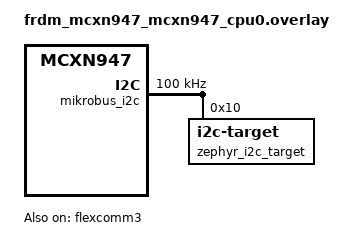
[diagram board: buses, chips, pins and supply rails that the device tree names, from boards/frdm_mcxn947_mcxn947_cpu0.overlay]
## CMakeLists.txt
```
# SPDX-License-Identifier: Apache-2.0

cmake_minimum_required(VERSION 3.20.0)

find_package(Zephyr REQUIRED HINTS $ENV{ZEPHYR_BASE})
project(echo_target)

target_sources(app PRIVATE src/main.c)
```

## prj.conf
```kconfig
CONFIG_I2C=y
CONFIG_I2C_TARGET=y

CONFIG_LOG=y
CONFIG_LOG_DEFAULT_LEVEL=3
```

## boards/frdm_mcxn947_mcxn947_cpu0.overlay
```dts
&flexcomm3 {
    status = "okay";
};

&mikrobus_i2c {
    status = "okay";
    clock-frequency = <I2C_BITRATE_STANDARD>;
};

&mikrobus_i2c {
    zephyr_i2c_target: i2c-target@10 {
        compatible = "zephyr,i2c-target";
        reg = <0x10>;
        status = "okay";
    };
};
```

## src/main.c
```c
#include <zephyr/kernel.h>
#include <zephyr/device.h>
#include <zephyr/drivers/i2c.h>
#include <zephyr/logging/log.h>
#include <string.h>

LOG_MODULE_REGISTER(i2c_target_test, LOG_LEVEL_INF);

#define I2C_TARGET_ADDR 0x10
#define BMC_TARGET_ADDR 0x11
#define REG_COUNT 16

static const struct device *i2c;

/* Simple register file for target-mode test */
static uint8_t registers[REG_COUNT];
static uint8_t current_reg;
static bool first_byte;

/* Work item to send bytes to BMC after STOP */
static struct k_work send_work;
static atomic_t send_pending;

/* Forward decl */
static void send_to_bmc_workfn(struct k_work *work);

static int write_requested(struct i2c_target_config *config)
{
	first_byte = true; /* reset per transaction */
	LOG_INF("Write requested");
	return 0;
}

static int write_received(struct i2c_target_config *config, uint8_t val)
{
	if (first_byte) {
		current_reg = val;
		first_byte = false;
		LOG_INF("Set register pointer to 0x%02x", current_reg);
	} else {
		if (current_reg < REG_COUNT) {
			registers[current_reg++] = val;
		}
	}
	return 0;
}
#if 1
static int read_requested(struct i2c_target_config *config, uint8_t *val)
{
	LOG_INF("Read requested (reg=0x%02x)", current_reg);

	if (current_reg < REG_COUNT) {
		*val = registers[current_reg];
	} else {
		*val = 0xFF;
	}
	return 0;
}

static int read_processed(struct i2c_target_config *config, uint8_t *val)
{
	LOG_INF("Read processed (reg=0x%02x)", current_reg);

	if (current_reg < REG_COUNT) {
		*val = registers[current_reg++];
	} else {
		*val = 0xFF;
	}
	return 0;
}
#endif
static int stop(struct i2c_target_config *config)
{
	first_byte = false;
	LOG_INF("STOP condition");

	/*
	 * Trigger a controller-mode send after STOP (safe point to switch roles).
	 * We only schedule once until it runs.
	 */
#if 0
	if (atomic_cas(&send_pending, 0, 1)) {
		k_work_submit(&send_work);
	}
#endif
	return 0;
}

static const struct i2c_target_callbacks target_callbacks = {
	.write_requested = write_requested,
	.write_received  = write_received,
	.read_requested  = read_requested,
	.read_processed  = read_processed,
	.stop            = stop,
};

static struct i2c_target_config target_config = {
	.address = I2C_TARGET_ADDR,
	.callbacks = &target_callbacks,
};

static void send_to_bmc_workfn(struct k_work *work)
{
	ARG_UNUSED(work);

	/* Example payload for i2c-slave-eeprom: [offset][data...] */
	uint8_t buf[] = { 0x00, 0xDE, 0xAD, 0xBE, 0xEF };

	LOG_INF("Sending %u bytes to BMC target 0x%02x", (unsigned)sizeof(buf), BMC_TARGET_ADDR);

	/*
	 * Safest approach in Zephyr: temporarily unregister target,
	 * perform controller write, then re-register target.
	 */
	(void)i2c_target_unregister(i2c, &target_config);

	int rc = i2c_write(i2c, buf, sizeof(buf), BMC_TARGET_ADDR);
	if (rc) {
		LOG_WRN("i2c_write to 0x%02x failed: %d", BMC_TARGET_ADDR, rc);
	} else {
		LOG_INF("i2c_write to 0x%02x OK", BMC_TARGET_ADDR);
	}

	rc = i2c_target_register(i2c, &target_config);
	if (rc) {
		LOG_ERR("Failed to re-register target: %d", rc);
	} else {
		LOG_INF("Re-registered target at 0x%02x", I2C_TARGET_ADDR);
	}

	atomic_set(&send_pending, 0);
}

int main(void)
{
	i2c = DEVICE_DT_GET(DT_NODELABEL(mikrobus_i2c));

	if (!device_is_ready(i2c)) {
		LOG_ERR("I2C device not ready");
		return -1;
	}

	k_work_init(&send_work, send_to_bmc_workfn);
	atomic_set(&send_pending, 0);

	int ret = i2c_target_register(i2c, &target_config);
	if (ret) {
		LOG_ERR("Failed to register target: %d", ret);
		return ret;
	}

	LOG_INF("I2C target ready at address 0x%02x", I2C_TARGET_ADDR);
	LOG_INF("Will send to BMC target at 0x%02x after first STOP", BMC_TARGET_ADDR);

	while (1) {
		k_sleep(K_SECONDS(1));
	}
}
```

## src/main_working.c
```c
#include <zephyr/kernel.h>
#include <zephyr/device.h>
#include <zephyr/drivers/i2c.h>
#include <zephyr/logging/log.h>

LOG_MODULE_REGISTER(i2c_target_test, LOG_LEVEL_INF);

#define I2C_TARGET_ADDR 0x10
#define REG_COUNT 16

static uint8_t registers[REG_COUNT];
static uint8_t current_reg;
static bool first_byte;

static int write_requested(struct i2c_target_config *config)
{
    first_byte = true;               // IMPORTANT: reset per transaction
    LOG_INF("Write requested");
    return 0;
}

static int write_received(struct i2c_target_config *config, uint8_t val)
{
    if (first_byte) {
        current_reg = val;
        first_byte = false;
        LOG_INF("Set register pointer to 0x%02x", current_reg);
    } else {
        if (current_reg < REG_COUNT) {
            registers[current_reg++] = val;
        }
    }
    return 0;
}

static int read_requested(struct i2c_target_config *config, uint8_t *val)
{
    LOG_INF("Read requested (reg=0x%02x)", current_reg);

    if (current_reg < REG_COUNT) {
        *val = registers[current_reg++];
    } else {
        *val = 0xFF;
    }
    return 0;
}

static int read_processed(struct i2c_target_config *config, uint8_t *val)
{
    LOG_INF("Read processed (reg=0x%02x)", current_reg);

    if (current_reg < REG_COUNT) {
        *val = registers[current_reg++];
    } else {
        *val = 0xFF;
    }
    return 0;
}

static int stop(struct i2c_target_config *config)
{
    first_byte = 0;
    LOG_INF("STOP condition");
    return 0;
}

static const struct i2c_target_callbacks target_callbacks = {
    .write_requested = write_requested,
    .write_received  = write_received,
    .read_requested  = read_requested,
    .read_processed  = read_processed,   // add this
    .stop            = stop,
};

static struct i2c_target_config target_config = {
    .address = I2C_TARGET_ADDR,
    .callbacks = &target_callbacks,
};

int main(void)
{
    const struct device *i2c = DEVICE_DT_GET(DT_NODELABEL(mikrobus_i2c));

    if (!device_is_ready(i2c)) {
        LOG_ERR("I2C device not ready");
        return -1;
    }

    int ret = i2c_target_register(i2c, &target_config);
    if (ret) {
        LOG_ERR("Failed to register target: %d", ret);
        return ret;
    }

    LOG_INF("I2C target ready at address 0x%02x", I2C_TARGET_ADDR);

    while (1) {
        k_sleep(K_SECONDS(1));
    }
}
```
